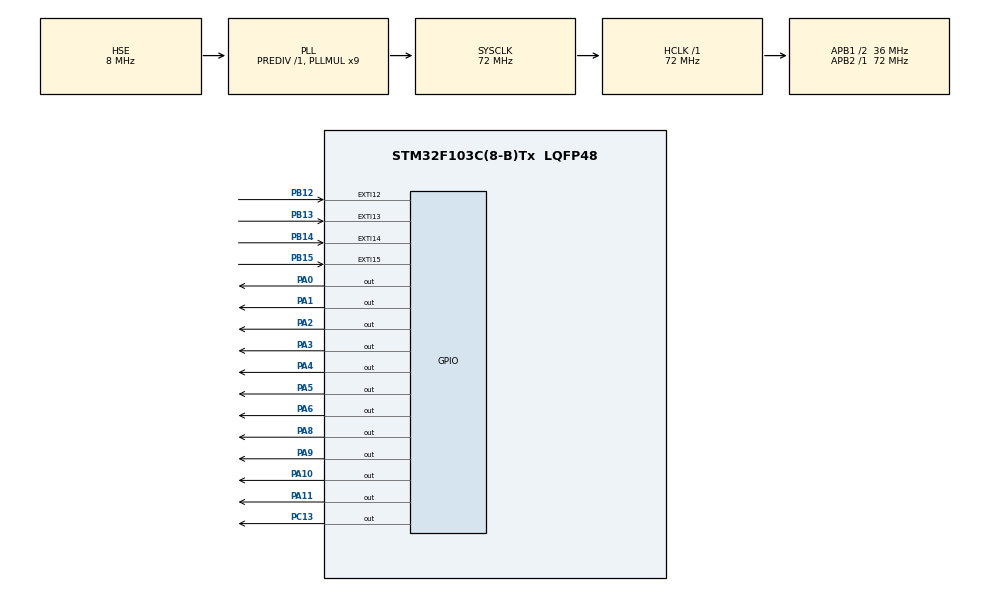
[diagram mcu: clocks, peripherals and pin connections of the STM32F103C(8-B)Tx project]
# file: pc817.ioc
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Mcu.Family=STM32F1
Mcu.Name=STM32F103C(8-B)Tx
Mcu.Package=LQFP48
NVIC.EXTI15_10_IRQn=true\:0\:0\:false\:false\:true\:true\:true\:true
NVIC.PVD_IRQn=true\:0\:0\:false\:false\:true\:true\:true\:true
NVIC.PriorityGroup=NVIC_PRIORITYGROUP_4
PA0-WKUP.Signal=GPIO_Output
PA1.Signal=GPIO_Output
PA10.Signal=GPIO_Output
PA11.Signal=GPIO_Output
PA13.Mode=Serial_Wire
PA13.Signal=SYS_JTMS-SWDIO
PA14.Mode=Serial_Wire
PA14.Signal=SYS_JTCK-SWCLK
PA2.Signal=GPIO_Output
PA3.Signal=GPIO_Output
PA4.Signal=GPIO_Output
PA5.Signal=GPIO_Output
PA6.Signal=GPIO_Output
PA8.Signal=GPIO_Output
PA9.Signal=GPIO_Output
PB12.GPIO_PuPd=GPIO_PULLDOWN
PB12.Signal=GPXTI12
PB13.GPIO_PuPd=GPIO_PULLDOWN
PB13.Signal=GPXTI13
PB14.GPIO_PuPd=GPIO_PULLDOWN
PB14.Signal=GPXTI14
PB15.GPIO_PuPd=GPIO_PULLDOWN
PB15.Signal=GPXTI15
PC13-TAMPER-RTC.PinState=GPIO_PIN_SET
PC13-TAMPER-RTC.Signal=GPIO_Output
PD0-OSC_IN.Mode=HSE-External-Oscillator
PD0-OSC_IN.Signal=RCC_OSC_IN
PD1-OSC_OUT.Mode=HSE-External-Oscillator
PD1-OSC_OUT.Signal=RCC_OSC_OUT
ProjectManager.HeapSize=0x200
ProjectManager.StackSize=0x400
ProjectManager.TargetToolchain=STM32CubeIDE
RCC.AHBFreq_Value=72000000
RCC.APB1CLKDivider=RCC_HCLK_DIV2
RCC.APB1Freq_Value=36000000
RCC.APB1TimFreq_Value=72000000
RCC.APB2Freq_Value=72000000
RCC.APB2TimFreq_Value=72000000
RCC.HCLKFreq_Value=72000000
RCC.PLLMUL=RCC_PLL_MUL9
RCC.PLLSourceVirtual=RCC_PLLSOURCE_HSE
RCC.SYSCLKFreq_VALUE=72000000
RCC.SYSCLKSource=RCC_SYSCLKSOURCE_PLLCLK
RCC.USBFreq_Value=72000000
TIM1.Period=0xffff - 1
TIM1.Prescaler=72-1
VP_TIM1_VS_ClockSourceINT.Mode=Internal
board=custom

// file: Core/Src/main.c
/* USER CODE BEGIN Header */
/**
  ******************************************************************************
  * @file           : main.c
  * @brief          : Main program body
  ******************************************************************************
  * @attention
  *
  * Copyright (c) 2025 STMicroelectronics.
  * All rights reserved.
  *
  * This software is licensed under terms that can be found in the LICENSE file
  * in the root directory of this software component.
  * If no LICENSE file comes with this software, it is provided AS-IS.
  *
  ******************************************************************************
  */
/* USER CODE END Header */
#include "main.h"

/* USER CODE BEGIN Includes */
#include "LCD1602.h"
#include "flash.h"
#include "stdio.h"
#include "string.h"
#include <stdbool.h>

/* USER CODE END Includes */

/* USER CODE BEGIN PD */
//start address
#define ADDRESS_DATA_STORAGE0 0x800F000 //page60
#define ADDRESS_DATA_STORAGE1 0x800F400 //page61
#define ADDRESS_DATA_STORAGE2 0x800F800 //page62
#define ADDRESS_DATA_STORAGE3 0x800FC00 //page63

#define FLASH_USER_START_ADDR 0x0800F800 // Sử dụng trang cuối của Flash

/* USER CODE END PD */

TIM_HandleTypeDef htim1;

/* USER CODE BEGIN PV */
  GPIO_InitTypeDef GPIO_InitStructPrivate = {0};

  uint32_t previousMillis = 0;
  uint32_t currentMillis = 0;
  int8_t keyPressed = -1;

  uint8_t default_password[6] = "123456";
  uint8_t current_password[6];
  uint8_t input_password[10];
  uint8_t new_password[10];
  uint8_t confirm_password[10];

  uint8_t input_length = 0;
  uint8_t password_length = 6;
  bool password_changed = false;

  char lcd_buffer[20];
  char   Nutnhan = 0;

/* USER CODE END PV */

void SystemClock_Config(void);
static void MX_GPIO_Init(void);
static void MX_TIM1_Init(void);

/* USER CODE BEGIN PFP */
void Read_Password(void);
bool Verify_Password(void);
void Change_Password(void);
void Save_Password_To_Flash(void);
void Load_Password_From_Flash(void);
void HAL_Delay(uint32_t Delay);
/* USER CODE END PFP */

int main(void)
{

  /* MCU Configuration--------------------------------------------------------*/

  /* Reset of all peripherals, Initializes the Flash interface and the Systick. */
  HAL_Init();

  /* Configure the system clock */
  SystemClock_Config();

  /* Initialize all configured peripherals */
  MX_GPIO_Init();
  MX_TIM1_Init();
  /* USER CODE BEGIN 2 */

  // Khởi tạo mật khẩu từ flash
   Load_Password_From_Flash();

   HAL_TIM_Base_Start(&htim1);
   lcd_init();

   HAL_GPIO_WritePin(GPIOA, GPIO_PIN_8,   1);
   HAL_GPIO_WritePin(GPIOA, GPIO_PIN_9,   1);
   HAL_GPIO_WritePin(GPIOA, GPIO_PIN_10,  1);
   HAL_GPIO_WritePin(GPIOA, GPIO_PIN_11,  1);

   lcd_clear();
   lcd_put_cur(0, 0);
   lcd_send_string("Password System");
   lcd_put_cur(1, 0);
   lcd_send_string("Press * to start");

  /* USER CODE END 2 */

  /* Infinite loop */
  while (1)
  {

    /* USER CODE BEGIN 3 */

	        if (keyPressed != -1)
	        {
	            // Nếu nhấn * để bắt đầu nhập mật khẩu
	            if (keyPressed == 42)
	            {

	                lcd_clear();
	                lcd_send_string("Enter Password:");
	                lcd_put_cur(1, 0);
	                input_length = 0;
	                memset(input_password, 0, sizeof(input_password));

	                while (1)
	                {
	                    if (keyPressed != -1)
	                    {
	                    	uint8_t tempKey = keyPressed;
	                    	keyPressed = -1; // Xóa sau khi xử lý để tránh lặp lại

	                    	//  Nếu nhấn # để xác nhận
	                    	 if (tempKey == 35){
	                    		 if (Verify_Password())
	                    		                           {
	                    		                               lcd_clear();
	                    		                               lcd_send_string("Password OK!");
	                    		                               HAL_Delay(1000);

	                    		                               // Menu sau khi đăng nhập
	                    		                               lcd_clear();
	                    		                               lcd_send_string("B: Change Pass");
	                    		                               lcd_put_cur(1, 0);
	                    		                               lcd_send_string("C: Exit");

	                    		                               while (1)
	                    		                               {

	                    		                                   if (keyPressed == 66 )     //B Change_Password
	                    		                                   {
	                    		                                	   keyPressed = -1;
	                    		                                       Change_Password();
	                    		                                       break;
	                    		                                   }
	                    		                                   else if (keyPressed == 67) //C exit
	                    		                                   {
	                    		                                	   keyPressed = -1;
	                    		                                       break;
	                    		                                   }
	                    		                                   HAL_Delay(100);
	                    		                               }
	                    		                               lcd_clear();
	                    		                               lcd_put_cur(0, 0);
	                    		                               lcd_send_string("Password System");
	                    		                               lcd_put_cur(1, 0);
	                    		                               lcd_send_string("Press * to start");
	                    		                               break;
	                    		                          }
	                    	      else
	                    	                              {
	                    	                    	           lcd_clear();
	                    	                    	           lcd_send_string("Wrong Password!");
	                    	                                   HAL_Delay(1000);
	                    	                                   lcd_put_cur(0, 0);
	                    	                                   lcd_send_string("Password System");
	                    	                                   lcd_put_cur(1, 0);
	                    	                                   lcd_send_string("Press * to start");
	                    	                                   break;
	                    	                              }
	                    	                      }
	                    	else  if (tempKey == 68)
	                        {
	                                                   if (input_length > 0)
	                                                   {
	                                                      input_length--;
	                                                      input_password[input_length] = 0;

	                                                      lcd_put_cur(1, 0);
	                                                      lcd_send_string("          ");
	                                                      lcd_put_cur(1, 0);

	                                                    for (int i = 0; i < input_length; i++)
	                                                     {
	                                                      lcd_send_data( input_password[i]);
	                                                     }
	                                                    }
	                         }
	                         else if (input_length < 10 && tempKey != '#' && tempKey != '*'  )
		                     {
		                             input_password[input_length++] = tempKey;
		                        	 lcd_send_data(tempKey);
		                     }
	                    }	 HAL_Delay(100);
	                }
	            }
	        }

//	   lcd_put_cur(1, 0);
//	   lcd_send_string((char*)default_password);
//	   lcd_send_cmd(0x0C);

//	   Nutnhan = keyPressed ;
//	   lcd_put_cur(1, 0);
//	   sprintf(lcd_buffer, "PHIM NHAN: %c", Nutnhan);
//	   lcd_send_string(lcd_buffer);

  }
  /* USER CODE END 3 */
}

void SystemClock_Config(void)
{
  RCC_OscInitTypeDef RCC_OscInitStruct = {0};
  RCC_ClkInitTypeDef RCC_ClkInitStruct = {0};

  /** Initializes the RCC Oscillators according to the specified parameters
  * in the RCC_OscInitTypeDef structure.
  */
  RCC_OscInitStruct.OscillatorType = RCC_OSCILLATORTYPE_HSE;
  RCC_OscInitStruct.HSEState = RCC_HSE_ON;
  RCC_OscInitStruct.HSEPredivValue = RCC_HSE_PREDIV_DIV1;
  RCC_OscInitStruct.HSIState = RCC_HSI_ON;
  RCC_OscInitStruct.PLL.PLLState = RCC_PLL_ON;
  RCC_OscInitStruct.PLL.PLLSource = RCC_PLLSOURCE_HSE;
  RCC_OscInitStruct.PLL.PLLMUL = RCC_PLL_MUL9;
  if (HAL_RCC_OscConfig(&RCC_OscInitStruct) != HAL_OK)
  {
    Error_Handler();
  }

  /** Initializes the CPU, AHB and APB buses clocks
  */
  RCC_ClkInitStruct.ClockType = RCC_CLOCKTYPE_HCLK|RCC_CLOCKTYPE_SYSCLK
                              |RCC_CLOCKTYPE_PCLK1|RCC_CLOCKTYPE_PCLK2;
  RCC_ClkInitStruct.SYSCLKSource = RCC_SYSCLKSOURCE_PLLCLK;
  RCC_ClkInitStruct.AHBCLKDivider = RCC_SYSCLK_DIV1;
  RCC_ClkInitStruct.APB1CLKDivider = RCC_HCLK_DIV2;
  RCC_ClkInitStruct.APB2CLKDivider = RCC_HCLK_DIV1;

  if (HAL_RCC_ClockConfig(&RCC_ClkInitStruct, FLASH_LATENCY_2) != HAL_OK)
  {
    Error_Handler();
  }
}

static void MX_TIM1_Init(void)
{

  TIM_ClockConfigTypeDef sClockSourceConfig = {0};
  TIM_MasterConfigTypeDef sMasterConfig = {0};

  htim1.Instance = TIM1;
  htim1.Init.Prescaler = 72-1;
  htim1.Init.CounterMode = TIM_COUNTERMODE_UP;
  htim1.Init.Period = 0xffff - 1;
  htim1.Init.ClockDivision = TIM_CLOCKDIVISION_DIV1;
  htim1.Init.RepetitionCounter = 0;
  htim1.Init.AutoReloadPreload = TIM_AUTORELOAD_PRELOAD_DISABLE;
  if (HAL_TIM_Base_Init(&htim1) != HAL_OK)
  {
    Error_Handler();
  }
  sClockSourceConfig.ClockSource = TIM_CLOCKSOURCE_INTERNAL;
  if (HAL_TIM_ConfigClockSource(&htim1, &sClockSourceConfig) != HAL_OK)
  {
    Error_Handler();
  }
  sMasterConfig.MasterOutputTrigger = TIM_TRGO_RESET;
  sMasterConfig.MasterSlaveMode = TIM_MASTERSLAVEMODE_DISABLE;
  if (HAL_TIMEx_MasterConfigSynchronization(&htim1, &sMasterConfig) != HAL_OK)
  {
    Error_Handler();
  }

}

static void MX_GPIO_Init(void)
{
  GPIO_InitTypeDef GPIO_InitStruct = {0};

  /* GPIO Ports Clock Enable */
  __HAL_RCC_GPIOC_CLK_ENABLE();
  __HAL_RCC_GPIOD_CLK_ENABLE();
  __HAL_RCC_GPIOA_CLK_ENABLE();
  __HAL_RCC_GPIOB_CLK_ENABLE();

  /*Configure GPIO pin Output Level */
  HAL_GPIO_WritePin(GPIOC, GPIO_PIN_13, GPIO_PIN_SET);

  /*Configure GPIO pin Output Level */
  HAL_GPIO_WritePin(GPIOA, GPIO_PIN_0|GPIO_PIN_1|GPIO_PIN_2|GPIO_PIN_3
                          |GPIO_PIN_4|GPIO_PIN_5|GPIO_PIN_6|GPIO_PIN_8
                          |GPIO_PIN_9|GPIO_PIN_10|GPIO_PIN_11, GPIO_PIN_RESET);

  /*Configure GPIO pin : PC13 */
  GPIO_InitStruct.Pin = GPIO_PIN_13;
  GPIO_InitStruct.Mode = GPIO_MODE_OUTPUT_PP;
  GPIO_InitStruct.Pull = GPIO_NOPULL;
  GPIO_InitStruct.Speed = GPIO_SPEED_FREQ_LOW;
  HAL_GPIO_Init(GPIOC, &GPIO_InitStruct);

  /*Configure GPIO pins : PA0 PA1 PA2 PA3
                           PA4 PA5 PA6 PA8
                           PA9 PA10 PA11 */
  GPIO_InitStruct.Pin = GPIO_PIN_0|GPIO_PIN_1|GPIO_PIN_2|GPIO_PIN_3
                          |GPIO_PIN_4|GPIO_PIN_5|GPIO_PIN_6|GPIO_PIN_8
                          |GPIO_PIN_9|GPIO_PIN_10|GPIO_PIN_11;
  GPIO_InitStruct.Mode = GPIO_MODE_OUTPUT_PP;
  GPIO_InitStruct.Pull = GPIO_NOPULL;
  GPIO_InitStruct.Speed = GPIO_SPEED_FREQ_LOW;
  HAL_GPIO_Init(GPIOA, &GPIO_InitStruct);

  /*Configure GPIO pins : PB12 PB13 PB14 PB15 */
  GPIO_InitStruct.Pin = GPIO_PIN_12|GPIO_PIN_13|GPIO_PIN_14|GPIO_PIN_15;
  GPIO_InitStruct.Mode = GPIO_MODE_IT_RISING;
  GPIO_InitStruct.Pull = GPIO_PULLDOWN;
  HAL_GPIO_Init(GPIOB, &GPIO_InitStruct);

  /* EXTI interrupt init*/
  HAL_NVIC_SetPriority(EXTI15_10_IRQn, 0, 0);
  HAL_NVIC_EnableIRQ(EXTI15_10_IRQn);

}

/* USER CODE BEGIN 4 */

void HAL_GPIO_EXTI_Callback(uint16_t GPIO_Pin)
{
  currentMillis = HAL_GetTick();
  if (currentMillis - previousMillis > 10) {
    /*Configure GPIO pins : PB to GPIO_INPUT*/
    GPIO_InitStructPrivate.Pin = GPIO_PIN_12|GPIO_PIN_13|GPIO_PIN_14|GPIO_PIN_15;
    GPIO_InitStructPrivate.Mode = GPIO_MODE_INPUT;
    GPIO_InitStructPrivate.Pull = GPIO_NOPULL;
    GPIO_InitStructPrivate.Speed = GPIO_SPEED_FREQ_LOW;
    HAL_GPIO_Init(GPIOB, &GPIO_InitStructPrivate);

    HAL_GPIO_WritePin(GPIOA, GPIO_PIN_8,  1);
    HAL_GPIO_WritePin(GPIOA, GPIO_PIN_9,  0);
    HAL_GPIO_WritePin(GPIOA, GPIO_PIN_10, 0);
    HAL_GPIO_WritePin(GPIOA, GPIO_PIN_11, 0);
    if(GPIO_Pin == GPIO_PIN_12 && HAL_GPIO_ReadPin(GPIOB, GPIO_PIN_12))
    {
      keyPressed = 68; //ASCII value of D
    }
    else if(GPIO_Pin == GPIO_PIN_13 && HAL_GPIO_ReadPin(GPIOB, GPIO_PIN_13))
    {
      keyPressed = 67; //ASCII value of C
    }
    else if(GPIO_Pin == GPIO_PIN_14 && HAL_GPIO_ReadPin(GPIOB, GPIO_PIN_14))
    {
      keyPressed = 66; //ASCII value of B
    }
    else if(GPIO_Pin == GPIO_PIN_15 && HAL_GPIO_ReadPin(GPIOB, GPIO_PIN_15))
    {
      keyPressed = 65; //ASCII value of A
    }

    HAL_GPIO_WritePin(GPIOA, GPIO_PIN_8,  0);
    HAL_GPIO_WritePin(GPIOA, GPIO_PIN_9,  1);
    HAL_GPIO_WritePin(GPIOA, GPIO_PIN_10, 0);
    HAL_GPIO_WritePin(GPIOA, GPIO_PIN_11, 0);
    if(GPIO_Pin == GPIO_PIN_12 && HAL_GPIO_ReadPin(GPIOB, GPIO_PIN_12))
    {
      keyPressed = 35; //ASCII value of #
    }
    else if(GPIO_Pin == GPIO_PIN_13 && HAL_GPIO_ReadPin(GPIOB, GPIO_PIN_13))
    {
      keyPressed = 57; //ASCII value of 9
    }
    else if(GPIO_Pin == GPIO_PIN_14 && HAL_GPIO_ReadPin(GPIOB, GPIO_PIN_14))
    {
      keyPressed = 54; //ASCII value of 6
    }
    else if(GPIO_Pin == GPIO_PIN_15 && HAL_GPIO_ReadPin(GPIOB, GPIO_PIN_15))
    {
      keyPressed = 51; //ASCII value of 3
    }

    HAL_GPIO_WritePin(GPIOA, GPIO_PIN_8,  0);
    HAL_GPIO_WritePin(GPIOA, GPIO_PIN_9,  0);
    HAL_GPIO_WritePin(GPIOA, GPIO_PIN_10, 1);
    HAL_GPIO_WritePin(GPIOA, GPIO_PIN_11, 0);
    if(GPIO_Pin == GPIO_PIN_12 && HAL_GPIO_ReadPin(GPIOB, GPIO_PIN_12))
    {
      keyPressed = 48; //ASCII value of 0
    }
    else if(GPIO_Pin == GPIO_PIN_13 && HAL_GPIO_ReadPin(GPIOB, GPIO_PIN_13))
    {
      keyPressed = 56; //ASCII value of 8
    }
    else if(GPIO_Pin == GPIO_PIN_14 && HAL_GPIO_ReadPin(GPIOB, GPIO_PIN_14))
    {
      keyPressed = 53; //ASCII value of 5
    }
    else if(GPIO_Pin == GPIO_PIN_15 && HAL_GPIO_ReadPin(GPIOB, GPIO_PIN_15))
    {
      keyPressed = 50; //ASCII value of 2
    }

    HAL_GPIO_WritePin(GPIOA, GPIO_PIN_8,  0);
    HAL_GPIO_WritePin(GPIOA, GPIO_PIN_9,  0);
    HAL_GPIO_WritePin(GPIOA, GPIO_PIN_10, 0);
    HAL_GPIO_WritePin(GPIOA, GPIO_PIN_11, 1);
    if(GPIO_Pin == GPIO_PIN_12 && HAL_GPIO_ReadPin(GPIOB, GPIO_PIN_12))
    {
      keyPressed = 42; //ASCII value of *
    }
    else if(GPIO_Pin == GPIO_PIN_13 && HAL_GPIO_ReadPin(GPIOB, GPIO_PIN_13))
    {
      keyPressed = 55; //ASCII value of 7
    }
    else if(GPIO_Pin == GPIO_PIN_14 && HAL_GPIO_ReadPin(GPIOB, GPIO_PIN_14))
    {
      keyPressed = 52; //ASCII value of 4
    }
    else if(GPIO_Pin == GPIO_PIN_15 && HAL_GPIO_ReadPin(GPIOB, GPIO_PIN_15))
    {
      keyPressed = 49; //ASCII value of 1
    }

    HAL_GPIO_WritePin(GPIOA, GPIO_PIN_8,  1);
    HAL_GPIO_WritePin(GPIOA, GPIO_PIN_9,  1);
    HAL_GPIO_WritePin(GPIOA, GPIO_PIN_10, 1);
    HAL_GPIO_WritePin(GPIOA, GPIO_PIN_11, 1);
    /*Configure GPIO pins : PB back to EXTI*/

    GPIO_InitStructPrivate.Mode = GPIO_MODE_IT_RISING;
    GPIO_InitStructPrivate.Pull = GPIO_PULLDOWN;
    HAL_GPIO_Init(GPIOB, &GPIO_InitStructPrivate);
    previousMillis = currentMillis;
  }
}
// Lưu mật khẩu vào Flash
void Save_Password_To_Flash(void)
{
    HAL_FLASH_Unlock();

    // Xóa trang Flash
    FLASH_EraseInitTypeDef EraseInitStruct;
    uint32_t PAGEError = 0;

    EraseInitStruct.Banks = 1;   //stm32f103c8t6 has only 1 bank
    EraseInitStruct.NbPages = 1; // Number page by 1 delete
    EraseInitStruct.PageAddress = FLASH_USER_START_ADDR; //Address page where you wwant to delete
    EraseInitStruct.TypeErase = FLASH_TYPEERASE_PAGES; // Type of erase

    if (HAL_FLASHEx_Erase(&EraseInitStruct, &PAGEError) != HAL_OK)
    {
        // Xử lý lỗi
    	lcd_send_string("Error Flash Erase");
        return;
    }

    // Lưu độ dài mật khẩu
    HAL_FLASH_Program(FLASH_TYPEPROGRAM_HALFWORD, FLASH_USER_START_ADDR, password_length);

    // Lưu từng ký tự của mật khẩu
    for (int i = 0; i < password_length; i++)
    {
        HAL_FLASH_Program(FLASH_TYPEPROGRAM_HALFWORD, FLASH_USER_START_ADDR + 2 + i * 2, current_password[i]);
    }

    HAL_FLASH_Lock();
}

// Đọc mật khẩu từ Flash
void Load_Password_From_Flash(void)
{
    // Đọc độ dài mật khẩu
    uint8_t len = *(__IO uint16_t*)FLASH_USER_START_ADDR;

    // Nếu độ dài hợp lệ, đọc mật khẩu
    if (len > 0 && len < 20)
    {
        password_length = len;

        for (int i = 0; i < password_length; i++)
        {
            current_password[i] = *(__IO uint16_t*)(FLASH_USER_START_ADDR + 2 + i * 2);
        }
    }
    else
    {
        // Sử dụng mật khẩu mặc định
        memcpy(current_password, default_password, 6);
        password_length = 6;
    }
}
// Kiểm tra mật khẩu
bool Verify_Password(void)
{
    if (input_length != password_length)
        return false;

    for (int i = 0; i < password_length; i++)
    {
        if (input_password[i] != current_password[i])
            return false;
    }

    return true;
}
void Change_Password(void)
{
    lcd_clear();
    lcd_send_string("New Password:");
    lcd_put_cur(1, 0);

    input_length = 0;
    memset(new_password, 0, sizeof(new_password));

    while (1)
    {

       if (keyPressed != -1)
        {
    	   uint8_t tempkey = keyPressed;
    	   keyPressed = -1; // Xóa sau khi xử lý để tránh lặp lại
            // Nếu nhấn # để xác nhận
            if (tempkey == 35)
            {
                if (input_length > 0 && input_length == password_length)
                {
                    break;
                }
            }
            // Nếu nhấn D để xóa ký tự cuối
            else if (tempkey == 68)
            {

                if (input_length > 0)
                {
                   input_length--;
                   new_password[input_length] = 0;

                   lcd_put_cur(1, 0);
                   lcd_send_string("          ");
                   lcd_put_cur(1, 0);

                 for (int i = 0; i < input_length; i++)
                 {
                   lcd_send_data( new_password[i]);
                 }
                }

            }
            // Nếu nhấn các phím khác
            else if (tempkey != '*' && tempkey != 'A' && tempkey != 'B' && tempkey != 'C' && input_length < 10)
            {
                new_password[input_length++] = tempkey;
                lcd_send_data(tempkey);
            }
        }

        HAL_Delay(100);
    }

    // Xác nhận mật khẩu mới
    lcd_clear();
    lcd_send_string("Confirm Pass:");
    lcd_put_cur(1, 0);

    uint8_t confirm_length = 0;
    memset(confirm_password, 0, sizeof(confirm_password));

    while (1)
    {

        if (keyPressed != -1)
        {
        	uint8_t tempkey = keyPressed;
        	keyPressed = -1; // Xóa sau khi xử lý để tránh lặp lại
            // Nếu nhấn # để xác nhận
            if (tempkey == '#')
            {
                if (confirm_length > 0)
                {
                    // Kiểm tra mật khẩu xác nhận
                    if (confirm_length == input_length)
                    {
                        bool match = true;
                        for (int i = 0; i < input_length; i++)
                        {
                            if (new_password[i] != confirm_password[i])
                            {
                                match = false;
                                break;
                            }
                        }

                        if (match)
                        {
                            // Lưu mật khẩu mới
                            memcpy(current_password, new_password, input_length);
                            password_length = input_length;
                            Save_Password_To_Flash();

                            lcd_clear();
                            lcd_send_string("Password");
                            lcd_put_cur(1, 0);
                            lcd_send_string("Changed!");
                            HAL_Delay(1000);
                        }
                        else
                        {
                            lcd_clear();
                            lcd_send_string("Passwords");
                            lcd_put_cur(1, 0);
                            lcd_send_string("Don't Match!");
                            HAL_Delay(1000);
                        }
                    }
                    else
                    {
                        lcd_clear();
                        lcd_send_string("Passwords");
                        lcd_put_cur(1, 0);
                        lcd_send_string("Don't Match!");
                        HAL_Delay(1000);
                    }
                    break;
                }
            }
            // Nếu nhấn D để xóa ký tự cuối
            else if (tempkey == 68)
            {
                if (confirm_length > 0)
                {
                    confirm_length--;
                    confirm_password[confirm_length] = 0;

                    lcd_put_cur(1, 0);
                    lcd_send_string("                ");
                    lcd_put_cur(1, 0);

                    for (int i = 0; i < confirm_length; i++)
                    {
                    	lcd_send_data( confirm_password[i]);
                    }
                }
            }
            // Nếu nhấn các phím khác
            else if (tempkey != '*' && tempkey != 'A' && tempkey != 'B' && tempkey != 'C' && confirm_length < 10)
            {
                confirm_password[confirm_length++] = tempkey;
                lcd_send_data(tempkey);
            }
        }

        HAL_Delay(100);
    }
}

/* USER CODE END 4 */

void Error_Handler(void)
{
  __disable_irq();
  while (1)
  {
  }
}
